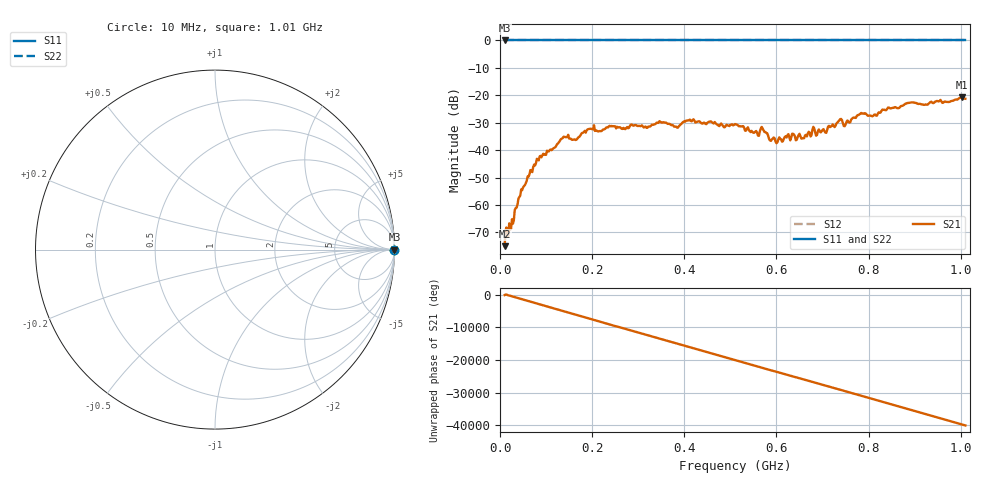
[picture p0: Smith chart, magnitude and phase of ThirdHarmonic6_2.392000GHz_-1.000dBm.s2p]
! 8/17/2025 3:53:18 AM
! C:\ANRITSUVNA\TEMP\TEMP.S2P
! CHANNEL.1
! TR.MEASUREMENT
! RAW.DATA
! RF.CORRECTION.OFF
! AVERAGING.OFF
! IF.BANDWIDTH: 5KHZ
! SWEEPTYPE:  FREQ.SWEEP(Linear)
! Reference Plane Port Info
! PORT:  PORT1  PORT2
! DISTANCE:  0  m  0  m
! TIME:  0  s  0  s
! PHASE.OFFSET:  0  deg.  0  deg.
! LOSS:  0  dB  0  dB
! REF.LOSS:  0  dB  0  dB
! REF.FREQ:  0  Hz  0  Hz
! Power Info
! POWER:  -20  dBm  -20  dBm
! EFF.POWER:  -20  dBm  -20  dBm
! SOURCE.ATTEN:  0  dB  0  dB
! TEST.ATTEN:  0  dB  0  dB
# GHZ S RI R 50.0
! FREQ.GHZ  S11RE  S11IM  S21RE  S21IM  S12RE  S12IM  S22RE  S22IM
!; PortSelection: Port_12
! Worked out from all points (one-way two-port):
!   501 points, 10 MHz to 1.01 GHz, reference 50 ohm
!   highest |S21| = -20.70 dB at 1.002 GHz (marker M1); lowest = -75.0 dB at 10 MHz (marker M2)
!   lowest |S11| = 0.0 dB at 10 MHz (marker M3)
!   |S11| at or under -10 dB: nowhere
!   |S22| runs from 0.0 to 0.0 dB; largest |S21 - S12| = 1.1
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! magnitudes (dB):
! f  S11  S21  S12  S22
! 10 MHz  0.0  -75.0  0.0  0.0
! 26 MHz  0.0  -65.2  0.0  0.0
! 46 MHz  0.0  -54.3  0.0  0.0
! 84 MHz  0.0  -43.7  0.0  0.0
! 136 MHz  0.0  -35.6  0.0  0.0
! 162 MHz  0.0  -36.1  0.0  0.0
! 178 MHz  0.0  -33.7  0.0  0.0
! 200 MHz  0.0  -32.4  0.0  0.0
! 316 MHz  0.0  -31.4  0.0  0.0
! 344 MHz  0.0  -30.1  0.0  0.0
! 382 MHz  0.0  -31.4  0.0  0.0
! 408 MHz  0.0  -29.2  0.0  0.0
! 510 MHz  0.0  -30.5  0.0  0.0
! 558 MHz  0.0  -33.7  0.0  0.0
! 570 MHz  0.0  -32.2  0.0  0.0
! 600 MHz  0.0  -37.5  0.0  0.0
! 622 MHz  0.0  -35.4  0.0  0.0
! 658 MHz  0.0  -35.7  0.0  0.0
! 678 MHz  0.0  -32.6  0.0  0.0
! 844 MHz  0.0  -24.4  0.0  0.0
! 1.002 GHz  0.0  -20.7  0.0  0.0
! 1.01 GHz  0.0  -21.3  0.0  0.0
